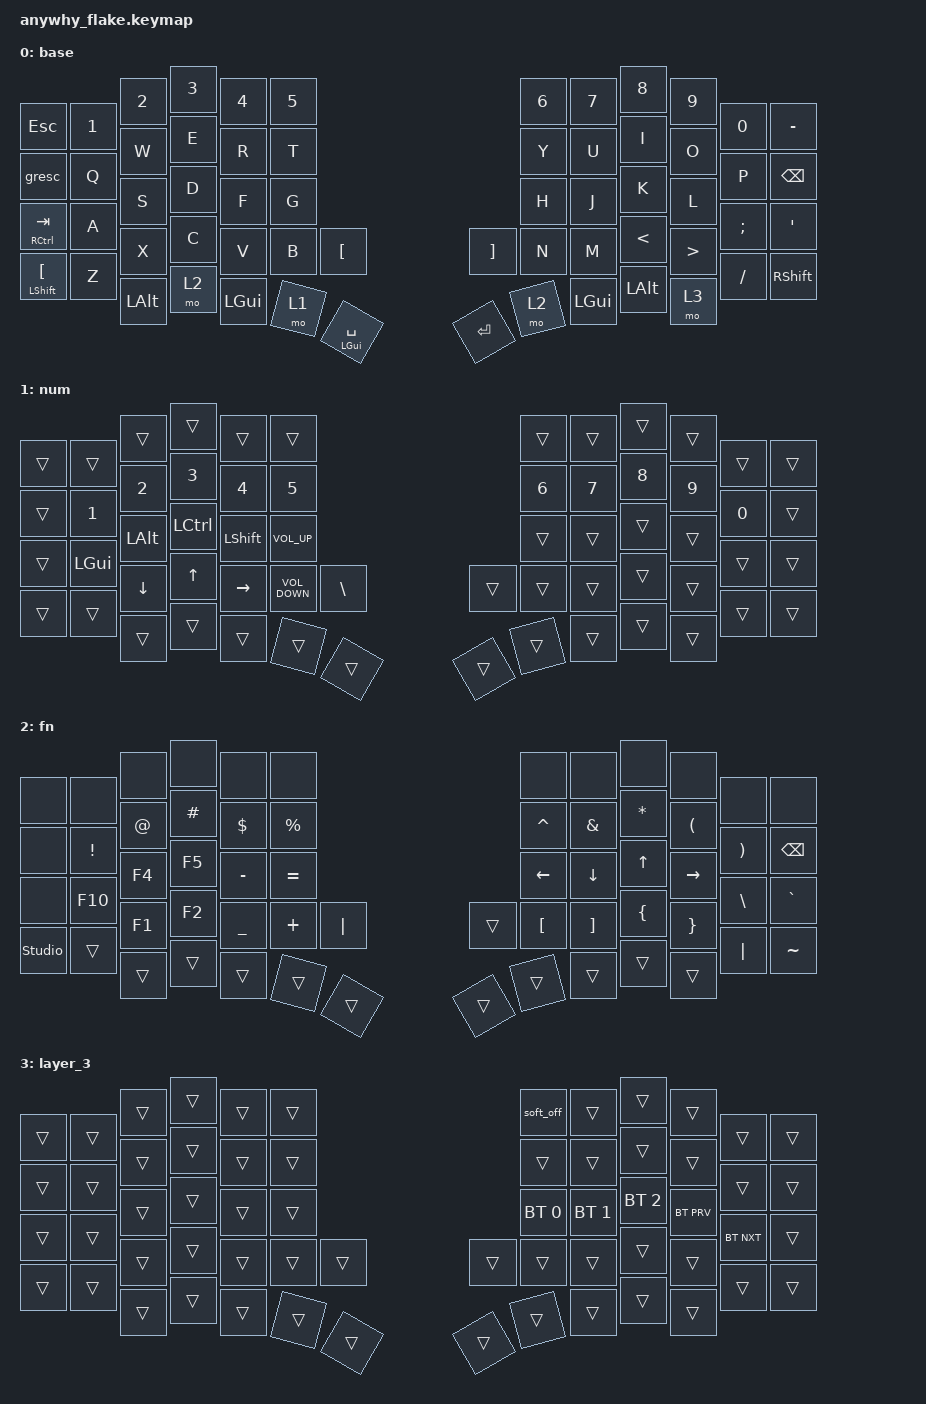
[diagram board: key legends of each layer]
#include <behaviors.dtsi>
#include <dt-bindings/zmk/bt.h>
#include <dt-bindings/zmk/keys.h>

/ {
    keymap {
        compatible = "zmk,keymap";

        base {
            bindings = <
&kp ESC                      &kp N1        &kp N2  &kp N3    &kp N4  &kp N5                            &kp N6             &kp N7  &kp N8    &kp N9         &kp N0            &kp MINUS
&gresc                       &kp Q         &kp W   &kp E     &kp R   &kp T                             &kp Y              &kp U   &kp I     &kp O          &kp P             &kp BSPC
&mt RCTRL TAB                &kp A         &kp S   &kp D     &kp F   &kp G                             &kp H              &kp J   &kp K     &kp L          &kp SEMI          &kp APOS
&mt LEFT_SHIFT LEFT_BRACKET  &kp Z         &kp X   &kp C     &kp V   &kp B           &kp LEFT_BRACKET  &kp RIGHT_BRACKET  &kp N   &kp M     &kp LESS_THAN  &kp GREATER_THAN  &kp SLASH  &kp RIGHT_SHIFT
                             &kp LEFT_ALT  &mo 2   &kp LGUI  &mo 1   &mt LGUI SPACE                    &kp ENTER          &mo 2   &kp LGUI  &kp LALT       &mo 3
            >;
        };

        num {
            bindings = <
&trans  &trans        &trans        &trans        &trans        &trans                       &trans        &trans  &trans  &trans  &trans  &trans
&trans  &kp NUMBER_1  &kp NUMBER_2  &kp NUMBER_3  &kp NUMBER_4  &kp N5                       &kp NUMBER_6  &kp N7  &kp N8  &kp N9  &kp N0  &trans
&trans  &kp LGUI      &kp LALT      &kp LCTRL     &kp LSHFT     &kp C_VOLUME_UP              &trans        &trans  &trans  &trans  &trans  &trans
&trans  &trans        &kp DOWN      &kp UP        &kp RIGHT     &kp C_VOLUME_DOWN  &kp BSLH  &trans        &trans  &trans  &trans  &trans  &trans  &trans
        &trans        &trans        &trans        &trans        &trans                       &trans        &trans  &trans  &trans  &trans
            >;
        };

        fn {
            bindings = <
&none           &none            &none        &none     &none           &none                  &none           &none             &none              &none                 &none                  &none
&none           &kp EXCLAMATION  &kp AT_SIGN  &kp HASH  &kp DOLLAR      &kp PERCENT            &kp CARET       &kp AMPERSAND     &kp ASTERISK       &kp LEFT_PARENTHESIS  &kp RIGHT_PARENTHESIS  &kp BACKSPACE
&none           &kp F10          &kp F4       &kp F5    &kp MINUS       &kp EQUAL              &kp LEFT_ARROW  &kp DOWN_ARROW    &kp UP_ARROW       &kp RIGHT_ARROW       &kp BACKSLASH          &kp GRAVE
&studio_unlock  &trans           &kp F1       &kp F2    &kp UNDERSCORE  &kp PLUS     &kp PIPE  &trans          &kp LEFT_BRACKET  &kp RIGHT_BRACKET  &kp LEFT_BRACE        &kp RIGHT_BRACE        &kp PIPE       &kp TILDE
                &trans           &trans       &trans    &trans          &trans                 &trans          &trans            &trans             &trans                &trans
            >;
        };

        layer_3 {
            bindings = <
&trans  &trans  &trans  &trans  &trans  &trans          &soft_off     &trans        &trans        &trans      &trans      &trans
&trans  &trans  &trans  &trans  &trans  &trans          &trans        &trans        &trans        &trans      &trans      &trans
&trans  &trans  &trans  &trans  &trans  &trans          &bt BT_SEL 0  &bt BT_SEL 1  &bt BT_SEL 2  &bt BT_PRV  &bt BT_NXT  &trans
&trans  &trans  &trans  &trans  &trans  &trans  &trans  &trans        &trans        &trans        &trans      &trans      &trans  &trans
        &trans  &trans  &trans  &trans  &trans          &trans        &trans        &trans        &trans      &trans
            >;
        };
    };
};
